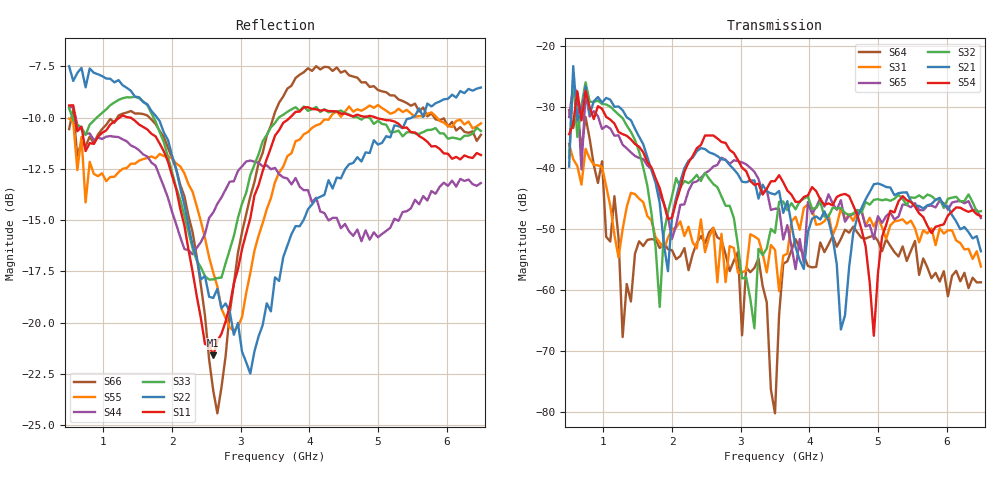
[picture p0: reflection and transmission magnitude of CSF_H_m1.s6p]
!Keysight Technologies,M9804A,MY58100912,A.14.10.03
!Date: Thursday, April 27, 2023 10:28:33
!Correction: S11(C  6-Port  )
!S12(C  6-Port  )
!S13(C  6-Port  )
!S14(C  6-Port  )
!S15(C  6-Port  )
!S16(C  6-Port  )
!S21(C  6-Port  )
!S22(C  6-Port  )
!S23(C  6-Port  )
!S24(C  6-Port  )
!S25(C  6-Port  )
!S26(C  6-Port  )
!S31(C  6-Port  )
!S32(C  6-Port  )
!S33(C  6-Port  )
!S34(C  6-Port  )
!S35(C  6-Port  )
!S36(C  6-Port  )
!S41(C  6-Port  )
!S42(C  6-Port  )
!S43(C  6-Port  )
!S44(C  6-Port  )
!S45(C  6-Port  )
!S46(C  6-Port  )
!S51(C  6-Port  )
!S52(C  6-Port  )
!S53(C  6-Port  )
!S54(C  6-Port  )
!S55(C  6-Port  )
!S56(C  6-Port  )
!S61(C  6-Port  )
!S62(C  6-Port  )
!S63(C  6-Port  )
!S64(C  6-Port  )
!S65(C  6-Port  )
!S66(C  6-Port  )
!S6P File: Measurement: :
# Hz S  RI  R 50
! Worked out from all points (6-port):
!   101 points, 500 MHz to 6.5 GHz, reference 50 ohm
!   strongest paths, dB at 500 MHz, 2 GHz, 3.5 GHz, 5 GHz, 6.5 GHz:
!     S54: -34.4, -48.1, -42.1, -57.2, -47.8
!     S21: -39.7, -47.8, -44.3, -42.5, -53.6
!     S32: -38.2, -44.5, -50.5, -45.0, -47.0
!     S65: -31.6, -51.5, -46.6, -47.8, -48.1
!     S31: -36.0, -50.0, -53.4, -48.1, -56.1
!     S64: -30.4, -53.4, -80.2, -51.9, -58.7
!   lowest |S11| = -21.6 dB at 2.6 GHz (marker M1), VSWR 1.18, Z = 42.6 + j2.05 ohm
!   |S11| at or under -10 dB: 588.6 MHz to 1.235 GHz (646.2 MHz wide, 70.9 % of centre); 1.398 GHz to 3.716 GHz (2.318 GHz wide, 90.7 % of centre); 4.973 GHz to end of sweep
